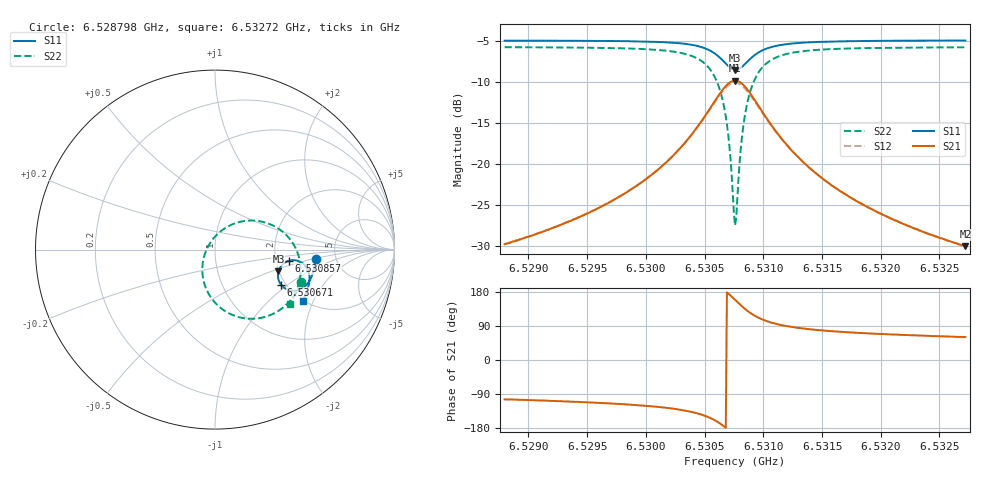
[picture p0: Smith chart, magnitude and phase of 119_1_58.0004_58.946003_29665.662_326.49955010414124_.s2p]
#  HZ  S  RI  R  50.00
! Rohde & Schwarz Vector Network Analyzer
! Rohde-Schwarz,ZNB20-2Port,1311601062101988,3.16
! Created: UTC 3/21/2024, 12:55:38 AM
! freq[Hz]  re:S11  im:S11  re:S21  im:S21  re:S12  im:S12  re:S22  im:S22
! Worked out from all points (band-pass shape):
!   401 points, 6.528798 GHz to 6.53272 GHz, reference 50 ohm
!   highest |S21| = -9.84 dB at 6.530759 GHz (marker M1); lowest = -30.0 dB at 6.53272 GHz (marker M2)
!   |S21| within 3 dB of the highest: 6.530564 GHz to 6.530956 GHz (392.7 kHz wide, 0.00601 % of centre)
!   lowest |S11| = -8.5 dB at 6.530759 GHz (marker M3), VSWR 2.19, Z = 99.4 - j28 ohm
!   |S11| at or under -10 dB: nowhere
!   |S22| runs from -27.4 to -5.8 dB; largest |S21 - S12| = 0.013
!   S11 on the Smith chart (normalised r, x): 6.528798 GHz: 3.48, -0.55; 6.530671 GHz: 1.89, -0.89; 6.530857 GHz: 2.36, -0.36; 6.53272 GHz: 1.98, -1.66
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6.528798e9  0.5606 -0.054  -0.00775 -0.0317  -0.00843 -0.0315  0.4804 -0.1829
6.529455e9  0.5513 -0.1096  -0.0176 -0.0453  -0.0185 -0.0448  0.4482 -0.2454
6.5298276e9  0.5403 -0.1455  -0.0304 -0.0596  -0.032 -0.0589  0.4138 -0.2904
6.530112e9  0.5241 -0.1777  -0.0525 -0.0779  -0.0548 -0.0763  0.3635 -0.335
6.5303376e9  0.4967 -0.2082  -0.0939 -0.0985  -0.097 -0.0952  0.2794 -0.3748
6.5305043e9  0.4516 -0.2283  -0.1653 -0.106  -0.1679 -0.0989  0.1477 -0.3798
6.5306023e9  0.4047 -0.2232  -0.2385 -0.0788  -0.2377 -0.0685  0.0254 -0.32
6.530671e9  0.3676 -0.1947  -0.2928 -0.0179  -0.2864 -0.00703  -0.0539 -0.2065
6.5307004e9  0.356 -0.1735  -0.3072 0.0227  -0.2982 0.0322  -0.0696 -0.1367
6.5307396e9  0.3507 -0.1392  -0.3088 0.0853  -0.2972 0.091  -0.0595 -0.0339
6.5307592e9  0.3536 -0.1213  -0.3002 0.1166  -0.2882 0.1206  -0.0393 0.0159
6.530769e9  0.3566 -0.1127  -0.2934 0.1318  -0.2815 0.1346  -0.0257 0.039
6.5307788e9  0.3603 -0.1043  -0.2854 0.1458  -0.2735 0.1477  -0.00979 0.0608
6.5308181e9  0.3824 -0.0773  -0.2422 0.1919  -0.2322 0.19  0.0695 0.1274
6.5308573e9  0.4107 -0.0626  -0.1913 0.2164  -0.1838 0.2129  0.1582 0.1584
6.5309259e9  0.4558 -0.0612  -0.1122 0.2192  -0.1084 0.2156  0.2908 0.1476
6.531024e9  0.4959 -0.083  -0.044 0.1872  -0.0423 0.1851  0.4009 0.0772
6.5311711e9  0.5198 -0.1194  -0.00269 0.1386  -0.00138 0.1379  0.4614 -0.0216
6.5314162e9  0.5267 -0.1634  0.0152 0.0908  0.0163 0.0905  0.4773 -0.1221
6.5317006e9  0.5221 -0.1987  0.0185 0.0627  0.0195 0.0625  0.468 -0.1875
6.5320733e9  0.5112 -0.2343  0.018 0.0436  0.0187 0.0435  0.4497 -0.2405
6.5327205e9  0.488 -0.2847  0.0157 0.0276  0.0162 0.0274  0.4164 -0.3006
